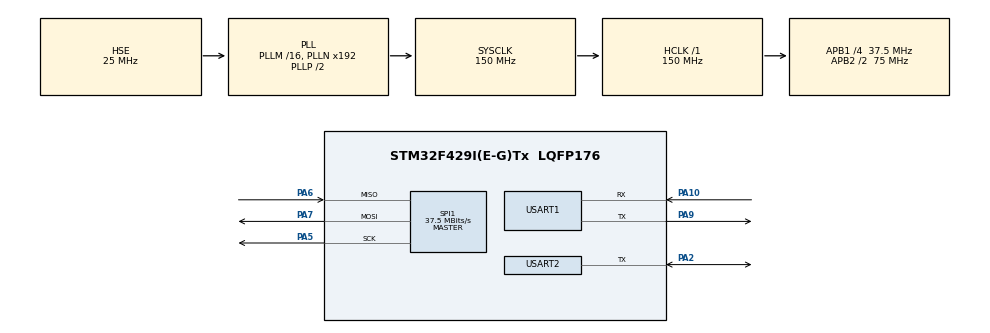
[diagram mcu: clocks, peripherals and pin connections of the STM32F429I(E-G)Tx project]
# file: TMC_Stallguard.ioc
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Mcu.Family=STM32F4
Mcu.Name=STM32F429I(E-G)Tx
Mcu.Package=LQFP176
NVIC.PriorityGroup=NVIC_PRIORITYGROUP_4
NVIC.USART1_IRQn=true\:0\:0\:false\:false\:true\:true\:true\:true
NVIC.USART2_IRQn=true\:0\:0\:false\:false\:true\:true\:true\:true
PA10.Mode=Asynchronous
PA10.Signal=USART1_RX
PA13.Mode=Serial_Wire
PA13.Signal=SYS_JTMS-SWDIO
PA14.Mode=Serial_Wire
PA14.Signal=SYS_JTCK-SWCLK
PA2.Mode=Half_duplex(single_wire_mode)
PA2.Signal=USART2_TX
PA5.Mode=Full_Duplex_Master
PA5.Signal=SPI1_SCK
PA6.Mode=Full_Duplex_Master
PA6.Signal=SPI1_MISO
PA7.Mode=Full_Duplex_Master
PA7.Signal=SPI1_MOSI
PA9.Mode=Asynchronous
PA9.Signal=USART1_TX
PH0/OSC_IN.Mode=HSE-External-Oscillator
PH0/OSC_IN.Signal=RCC_OSC_IN
PH1/OSC_OUT.Mode=HSE-External-Oscillator
PH1/OSC_OUT.Signal=RCC_OSC_OUT
ProjectManager.HeapSize=0x200
ProjectManager.StackSize=0x400
ProjectManager.TargetToolchain=STM32CubeIDE
RCC.48MHZClocksFreq_Value=75000000
RCC.AHBFreq_Value=150000000
RCC.APB1CLKDivider=RCC_HCLK_DIV4
RCC.APB1Freq_Value=37500000
RCC.APB1TimFreq_Value=75000000
RCC.APB2CLKDivider=RCC_HCLK_DIV2
RCC.APB2Freq_Value=75000000
RCC.APB2TimFreq_Value=150000000
RCC.CortexFreq_Value=150000000
RCC.HCLKFreq_Value=150000000
RCC.HSE_VALUE=25000000
RCC.HSI_VALUE=16000000
RCC.LSE_VALUE=32768
RCC.PLLSourceVirtual=RCC_PLLSOURCE_HSE
RCC.SYSCLKFreq_VALUE=150000000
RCC.SYSCLKSource=RCC_SYSCLKSOURCE_PLLCLK
RCC.VCOOutputFreq_Value=300000000
SPI1.BaudRatePrescaler=SPI_BAUDRATEPRESCALER_2
SPI1.CLKPhase=SPI_PHASE_2EDGE
SPI1.CLKPolarity=SPI_POLARITY_HIGH
SPI1.CalculateBaudRate=37.5 MBits/s
SPI1.Direction=SPI_DIRECTION_2LINES
SPI1.Mode=SPI_MODE_MASTER
SPI1.VirtualType=VM_MASTER
USART1.VirtualMode=VM_ASYNC
USART2.VirtualMode=VM_ASYNC
VP_TIM7_VS_ClockSourceINT.Mode=Enable_Timer
board=custom

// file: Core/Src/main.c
/* USER CODE BEGIN Header */
/**
  ******************************************************************************
  * @file           : main.c
  * @brief          : Main program body
  ******************************************************************************
  * @attention
  *
  * Copyright (c) 2023 STMicroelectronics.
  * All rights reserved.
  *
  * This software is licensed under terms that can be found in the LICENSE file
  * in the root directory of this software component.
  * If no LICENSE file comes with this software, it is provided AS-IS.
  *
  ******************************************************************************
  */
/* USER CODE END Header */
#include "main.h"
#include "spi.h"
#include "tim.h"
#include "usart.h"
#include "gpio.h"

/* USER CODE BEGIN Includes */
#include <stdio.h>
#include "retarget.h"
#include "tmc2209.h"
#include "../../TMC-API/tmc/ic/TMC5160/TMC5160.h"
#include "delay_us.h"
/* USER CODE END Includes */

void SystemClock_Config(void);
/* USER CODE BEGIN PFP */
TMC5160TypeDef tmc5160;
/* USER CODE END PFP */

/* USER CODE BEGIN 0 */

#define COMMAND_SIZE 8
uint8_t command[COMMAND_SIZE];
uint8_t receive[COMMAND_SIZE];

/* USER CODE END 0 */

int main(void)
{
  /* USER CODE BEGIN 1 */
  RetargetInit(&huart1);
  /* USER CODE END 1 */

  /* MCU Configuration--------------------------------------------------------*/

  /* Reset of all peripherals, Initializes the Flash interface and the Systick. */
  HAL_Init();

  /* USER CODE BEGIN Init */
  tmc5160_init(&tmc5160, 0, 0, NULL);
  /* USER CODE END Init */

  /* Configure the system clock */
  SystemClock_Config();

  /* Initialize all configured peripherals */
  MX_GPIO_Init();
  MX_SPI1_Init();
  MX_USART1_UART_Init();
  MX_USART2_UART_Init();
  MX_TIM7_Init();
  /* USER CODE BEGIN 2 */
  command[0] = 0xFF;
  command[1] = 0x54;
  command[2] = 0x74;
  command[3] = 0x25;

  tmc5160_writeInt(&tmc5160, TMC5160_GCONF, 0x000000E4);
  tmc5160_writeInt(&tmc5160, TMC5160_CHOPCONF, 0x000000E4);
  tmc5160_writeInt(&tmc5160, TMC5160_IHOLD_IRUN, 0x00060100);
//  tmc5160_writeInt(&tmc5160, TMC5160_IHOLD_IRUN, 0x00061201);
//  tmc5160_writeInt(&tmc5160, TMC5160_TPOWERDOWN, 0x0000000A);
//
//  tmc5160_writeInt(&tmc5160, TMC5160_TPWMTHRS, 0x000001F4);
//  tmc5160_writeInt(&tmc5160, TMC5160_PWMCONF, 0x00000000);
//
//  tmc5160_writeInt(&tmc5160, TMC5160_VSTART, 0x00020000);
//  tmc5160_writeInt(&tmc5160, TMC5160_A1, 0x000F8000);
//  tmc5160_writeInt(&tmc5160, TMC5160_V1, 0x000DF000);
  tmc5160_writeInt(&tmc5160, TMC5160_AMAX, 0x0001FFFF);
  tmc5160_writeInt(&tmc5160, TMC5160_VMAX, 0x004FF00);
//  tmc5160_writeInt(&tmc5160, TMC5160_DMAX, 0x0001C000);
//  tmc5160_writeInt(&tmc5160, TMC5160_D1, 0x00008000);
//  tmc5160_writeInt(&tmc5160, TMC5160_VSTOP, 0x00000000);
//  tmc5160_writeInt(&tmc5160, TMC5160_RAMPMODE,0x00000001);
//  tmc5160_writeInt(&tmc5160, TMC5160_RAMPMODE,0x00001000);
  //tmc5160_writeInt(&tmc5160, TMC5160_XTARGET, 0xFFFF3800);

  tmc5160_writeInt(&tmc5160, TMC5160_SWMODE, 0x00000400);

  tmc5160_writeInt(&tmc5160, TMC5160_COOLCONF, 0x00900000);
  tmc5160_writeInt(&tmc5160, TMC5160_TCOOLTHRS, 0x00000FEC);
  tmc5160_writeInt(&tmc5160, TMC5160_RAMPMODE,0x00000001);
  HAL_Delay(200);
  tmc5160_writeInt(&tmc5160, TMC5160_COOLCONF, 0x00090000);
  /* USER CODE END 2 */

  /* Infinite loop */
  /* USER CODE BEGIN WHILE */
  while (1)
  {
//    tmc5160_readInt(&tmc5160, TMC5160_DRVSTATUS);
    tmc5160_readInt(&tmc5160, TMC5160_TSTEP);
    HAL_Delay(200);
//    tmc5160_readInt(&tmc5160, TMC5160_CHOPCONF);
//    tmc5160_readInt(&tmc5160, TMC5160_GCONF);
//    tmc5160_writeInt(&tmc5160, TMC5160_GCONF, 0x000000E4);
//    HAL_Delay(4000);
//    tmc5160_writeInt(&tmc5160, TMC5160_GCONF, 0x000000EC);
//    HAL_Delay(4000);
//    HAL_GPIO_WritePin(GPIOB, GPIO_PIN_6, GPIO_PIN_RESET);
//    //Delay_us(1);
//    HAL_GPIO_WritePin(GPIOB, GPIO_PIN_6, GPIO_PIN_SET);
//    //Delay_us(1);
    /* USER CODE END WHILE */

  }
}

void SystemClock_Config(void)
{
  RCC_OscInitTypeDef RCC_OscInitStruct = {0};
  RCC_ClkInitTypeDef RCC_ClkInitStruct = {0};

  /** Configure the main internal regulator output voltage
  */
  __HAL_RCC_PWR_CLK_ENABLE();
  __HAL_PWR_VOLTAGESCALING_CONFIG(PWR_REGULATOR_VOLTAGE_SCALE1);

  /** Initializes the RCC Oscillators according to the specified parameters
  * in the RCC_OscInitTypeDef structure.
  */
  RCC_OscInitStruct.OscillatorType = RCC_OSCILLATORTYPE_HSE;
  RCC_OscInitStruct.HSEState = RCC_HSE_ON;
  RCC_OscInitStruct.PLL.PLLState = RCC_PLL_ON;
  RCC_OscInitStruct.PLL.PLLSource = RCC_PLLSOURCE_HSE;
  RCC_OscInitStruct.PLL.PLLM = 16;
  RCC_OscInitStruct.PLL.PLLN = 192;
  RCC_OscInitStruct.PLL.PLLP = RCC_PLLP_DIV2;
  RCC_OscInitStruct.PLL.PLLQ = 4;
  if (HAL_RCC_OscConfig(&RCC_OscInitStruct) != HAL_OK)
  {
    Error_Handler();
  }

  /** Initializes the CPU, AHB and APB buses clocks
  */
  RCC_ClkInitStruct.ClockType = RCC_CLOCKTYPE_HCLK|RCC_CLOCKTYPE_SYSCLK
                              |RCC_CLOCKTYPE_PCLK1|RCC_CLOCKTYPE_PCLK2;
  RCC_ClkInitStruct.SYSCLKSource = RCC_SYSCLKSOURCE_PLLCLK;
  RCC_ClkInitStruct.AHBCLKDivider = RCC_SYSCLK_DIV1;
  RCC_ClkInitStruct.APB1CLKDivider = RCC_HCLK_DIV4;
  RCC_ClkInitStruct.APB2CLKDivider = RCC_HCLK_DIV2;

  if (HAL_RCC_ClockConfig(&RCC_ClkInitStruct, FLASH_LATENCY_4) != HAL_OK)
  {
    Error_Handler();
  }
}

void Error_Handler(void)
{
  __disable_irq();
  while (1)
  {
  }
}
